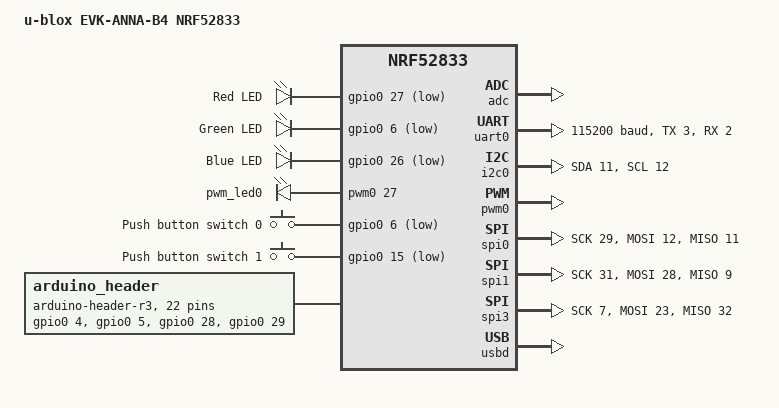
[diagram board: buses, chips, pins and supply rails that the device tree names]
/*
 * Copyright (c) 2021 u-blox AG
 *
 * SPDX-License-Identifier: Apache-2.0
 */

/dts-v1/;
#include <nordic/nrf52833_qiaa.dtsi>

/ {
	model = "u-blox EVK-ANNA-B4 NRF52833";
	compatible = "u-blox,ubx_evkannab4_nrf52833";

	chosen {
		zephyr,console = &uart0;
		zephyr,shell-uart = &uart0;
		zephyr,uart-mcumgr = &uart0;
		zephyr,bt-mon-uart = &uart0;
		zephyr,bt-c2h-uart = &uart0;
		zephyr,sram = &sram0;
		zephyr,flash = &flash0;
		zephyr,code-partition = &slot0_partition;
	};

	leds {
		compatible = "gpio-leds";
		led0: led_0 {
			/* ANNA-B4 GPIO_31 */
			gpios = <&gpio0 27 GPIO_ACTIVE_LOW>;
			label = "Red LED";
		};
		led1: led_1 {
			/* ANNA-B4 GPIO_32 */
			gpios = <&gpio0 6 GPIO_ACTIVE_LOW>;
			label = "Green LED";
		};
		led2: led_2 {
			/*ANNA-B4 GPIO_33 */
			gpios = <&gpio0 26 GPIO_ACTIVE_LOW>;
			label = "Blue LED";
		};
	};

	pwmleds {
		compatible = "pwm-leds";
		pwm_led0: pwm_led0 {
			pwms = <&pwm0 27>;
		};
	};

	buttons {
		compatible = "gpio-keys";
		button0: button_0 {
			/* EVK-ANNA-B4 SW1 button (IO_32). Note: shared with Green LED */
			gpios = <&gpio0 6 (GPIO_PULL_UP | GPIO_ACTIVE_LOW)>;
			label = "Push button switch 0";
		};
		button1: button_1 {
			/* EVK-ANNA-B4 SW2 button (IO_40) */
			gpios = <&gpio0 15 (GPIO_PULL_UP | GPIO_ACTIVE_LOW)>;
			label = "Push button switch 1";
		};
	};

	arduino_header: connector {
		compatible = "arduino-header-r3";
		#gpio-cells = <2>;
		gpio-map-mask = <0xffffffff 0xffffffc0>;
		gpio-map-pass-thru = <0 0x3f>;
		gpio-map = <0 0 &gpio0 4 0>,	/* A0 */
			   <1 0 &gpio0 5 0>,	/* A1 */
			   <2 0 &gpio0 28 0>,	/* A2 */
			   <3 0 &gpio0 29 0>,	/* A3 */
			   <4 0 &gpio0 30 0>,	/* A4 */
			   <5 0 &gpio0 31 0>,	/* A5 */
			   <6 0 &gpio0 2 0>,	/* D0 */
			   <7 0 &gpio0 3 0>,	/* D1 */
			   <8 0 &gpio0 22 0>,	/* D2 */
			   <9 0 &gpio0 16 0>,	/* D3 */
			   <10 0 &gpio0 27 0>,	/* D4 */
			   <11 0 &gpio0 26 0>,	/* D5 */
			   <12 0 &gpio0 10 0>,	/* D6 */
			   <13 0 &gpio0 9 0>,	/* D7 */
			   <14 0 &gpio1 9 0>,	/* D8 */
			   <15 0 &gpio0 15 0>,	/* D9 */
			   <16 0 &gpio0 19 0>,	/* D10 */
			   <17 0 &gpio0 23 0>,	/* D11 */
			   <18 0 &gpio1 0 0>,	/* D12 */
			   <19 0 &gpio0 7 0>,	/* D13 */
			   <20 0 &gpio0 11 0>,	/* D14 */  /* SDA */
			   <21 0 &gpio0 12 0>;	/* D15 */  /* SCL */
	};

	/* These aliases are provided for compatibility with samples */
	aliases {
		led0 = &led0;
		led1 = &led1;
		led2 = &led2;
		pwm-led0 = &pwm_led0;
		red-pwm-led = &pwm_led0;
		sw0 = &button0;
		sw1 = &button1;
	};
};

&adc {
	status = "okay";
};

&gpiote {
	status = "okay";
};

&gpio0 {
	status = "okay";
};

&gpio1 {
	status = "okay";
};

&uart0 {
	compatible = "nordic,nrf-uarte";
	status = "okay";
	current-speed = <115200>;
	tx-pin = <3>;
	rx-pin = <2>;
	rts-pin = <16>;
	cts-pin = <22>;
};

arduino_i2c: &i2c0 {
	compatible = "nordic,nrf-twi";
	status = "okay";
	sda-pin = <11>;
	scl-pin = <12>;
};

&pwm0 {
	status = "okay";
	ch0-pin = <27>;
	ch0-inverted;
	status = "okay";
};

&spi0 {
	compatible = "nordic,nrf-spi";
	/* Cannot be used together with i2c0. */
	/* status = "okay"; */
	sck-pin = <29>;
	mosi-pin = <12>;
	miso-pin = <11>;
};

&spi1 {
	compatible = "nordic,nrf-spi";
	status = "okay";
	sck-pin = <31>;
	mosi-pin = <28>;
	miso-pin = <9>;
};

arduino_spi: &spi3 {
	status = "okay";
	sck-pin = <7>;              /* D13 */
	mosi-pin = <23>;             /* D11 */
	miso-pin = <32>;             /* D12 */
	cs-gpios = <&arduino_header 16 GPIO_ACTIVE_LOW>; /* D10 */
};

&flash0 {
	partitions {
		compatible = "fixed-partitions";
		#address-cells = <1>;
		#size-cells = <1>;

		boot_partition: partition@0 {
			label = "mcuboot";
			reg = <0x00000000 0xC000>;
		};
		slot0_partition: partition@c000 {
			label = "image-0";
			reg = <0x0000C000 0x32000>;
		};
		slot1_partition: partition@3e000 {
			label = "image-1";
			reg = <0x0003E000 0x32000>;
		};
		scratch_partition: partition@70000 {
			label = "image-scratch";
			reg = <0x00070000 0xA000>;
		};
		storage_partition: partition@7a000 {
			label = "storage";
			reg = <0x0007A000 0x00006000>;
		};
	};
};

zephyr_udc0: &usbd {
	compatible = "nordic,nrf-usbd";
	status = "okay";
};
